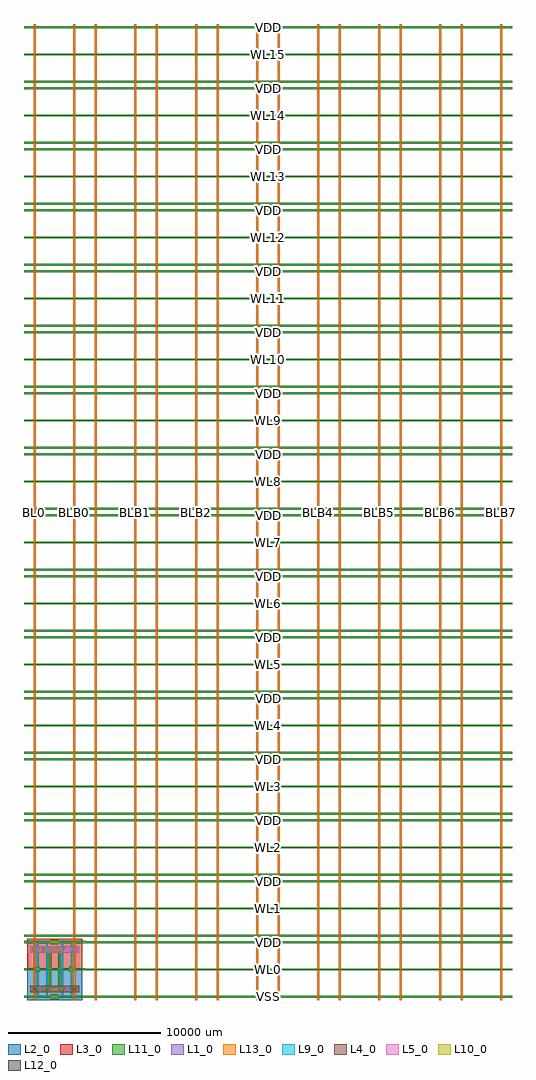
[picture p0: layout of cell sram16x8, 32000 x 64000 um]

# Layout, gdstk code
import gdstk
lib = gdstk.Library(unit=1e-6, precision=5e-10)
def R(c, l, rs):  # rectangles x0, y0, x1, y1
    for r in rs: c.add(gdstk.rectangle(r[:2], r[2:], *l))
def A(c, l, x, y, w, h, nx, ny, dx, dy):  # array of equal rectangles
    R(c, l, [(x+i*dx, y+j*dy, x+i*dx+w, y+j*dy+h) for i in range(nx) for j in range(ny)])
L1_0 = (1, 0)
L2_0 = (2, 0)
L3_0 = (3, 0)
L4_0 = (4, 0)
L5_0 = (5, 0)
L9_0 = (9, 0)
L10_0 = (10, 0)
L11_0 = (11, 0)
L12_0 = (12, 0)
L13_0 = (13, 0)

sram6t = lib.new_cell('sram6t')
R(sram6t, L1_0, [(400,500,2000,900), (2000,500,3600,900), (400,3100,2000,3500), (2000,3100,3600,3500)])
R(sram6t, L2_0, [(200,0,3800,2000)])
R(sram6t, L3_0, [(200,2000,3800,4000)])
R(sram6t, L4_0, [(400,500,2000,900), (2000,500,3600,900)])
R(sram6t, L5_0, [(400,3100,2000,3500), (2000,3100,3600,3500)])
R(sram6t, L9_0, [(850,200,950,3800), (1450,200,1550,3800), (2450,200,2550,3800), (3050,200,3150,3800)])
A(sram6t, L10_0, 635, 635, 130, 130, 3, 2, 600, 2600)
R(sram6t, L10_0, [(1835,135,1965,265), (2035,135,2165,265), (2035,635,2165,765), (2435,635,2565,765), (3235,635,3365,765), (835,1935,965,2065), (3035,1935,3165,2065), (2035,3235,2165,3365), (2435,3235,2565,3365), (3235,3235,3365,3365), (1835,3735,1965,3865), (2035,3735,2165,3865)])
A(sram6t, L11_0, 0, 135, 4000, 130, 1, 3, 0, 1800)
A(sram6t, L11_0, 565, 565, 270, 270, 3, 2, 600, 2600)
R(sram6t, L11_0, [(1765,65,2035,335), (1965,65,2235,335), (560,560,840,840), (3160,560,3440,840), (1965,565,2235,835), (2365,565,2635,835), (3165,565,3435,835), (1235,635,1365,765), (2300,635,2500,765), (2435,635,2565,765), (1635,700,1765,3300), (2235,700,2365,3300), (765,1865,1035,2135), (2965,1865,3235,2135), (1965,3165,2235,3435), (2365,3165,2635,3435), (3165,3165,3435,3435), (1235,3235,1365,3365), (1500,3235,1700,3365), (2435,3235,2565,3365), (1765,3665,2035,3935), (1965,3665,2235,3935)])
R(sram6t, L12_0, [(630,630,770,770), (3230,630,3370,770)])
R(sram6t, L13_0, [(630,0,770,4000), (3230,0,3370,4000), (560,560,840,840), (3160,560,3440,840)])
sram6t.add(gdstk.Label('WL', (2000,2000), layer=11, texttype=1))
sram6t.add(gdstk.Label('VDD', (2000,3800), layer=11, texttype=1))
sram6t.add(gdstk.Label('VSS', (2000,200), layer=11, texttype=1))
sram6t.add(gdstk.Label('BL', (700,2000), layer=13, texttype=1))
sram6t.add(gdstk.Label('BLB', (3300,2000), layer=13, texttype=1))

sram16x8 = lib.new_cell('sram16x8')
A(sram16x8, L11_0, 0, 135, 32000, 130, 1, 3, 0, 1800)
A(sram16x8, L11_0, 0, 4135, 32000, 130, 1, 3, 0, 1800)
A(sram16x8, L11_0, 0, 8135, 32000, 130, 1, 3, 0, 1800)
A(sram16x8, L11_0, 0, 12135, 32000, 130, 1, 3, 0, 1800)
A(sram16x8, L11_0, 0, 16135, 32000, 130, 1, 3, 0, 1800)
A(sram16x8, L11_0, 0, 20135, 32000, 130, 1, 3, 0, 1800)
A(sram16x8, L11_0, 0, 24135, 32000, 130, 1, 3, 0, 1800)
A(sram16x8, L11_0, 0, 28135, 32000, 130, 1, 3, 0, 1800)
A(sram16x8, L11_0, 0, 32135, 32000, 130, 1, 3, 0, 1800)
A(sram16x8, L11_0, 0, 36135, 32000, 130, 1, 3, 0, 1800)
A(sram16x8, L11_0, 0, 40135, 32000, 130, 1, 3, 0, 1800)
A(sram16x8, L11_0, 0, 44135, 32000, 130, 1, 3, 0, 1800)
A(sram16x8, L11_0, 0, 48135, 32000, 130, 1, 3, 0, 1800)
A(sram16x8, L11_0, 0, 52135, 32000, 130, 1, 3, 0, 1800)
A(sram16x8, L11_0, 0, 56135, 32000, 130, 1, 3, 0, 1800)
A(sram16x8, L11_0, 0, 60135, 32000, 130, 1, 3, 0, 1800)
R(sram16x8, L13_0, [(630,0,770,64000), (3230,0,3370,64000), (4630,0,4770,64000), (7230,0,7370,64000), (8630,0,8770,64000), (11230,0,11370,64000), (12630,0,12770,64000), (15230,0,15370,64000), (16630,0,16770,64000), (19230,0,19370,64000), (20630,0,20770,64000), (23230,0,23370,64000), (24630,0,24770,64000), (27230,0,27370,64000), (28630,0,28770,64000), (31230,0,31370,64000)])
sram16x8.add(gdstk.Reference(sram6t, (0,0)))
sram16x8.add(gdstk.Reference(sram6t, (2,0)))
sram16x8.add(gdstk.Reference(sram6t, (4,0)))
sram16x8.add(gdstk.Reference(sram6t, (6,0)))
sram16x8.add(gdstk.Reference(sram6t, (8,0)))
sram16x8.add(gdstk.Reference(sram6t, (10,0)))
sram16x8.add(gdstk.Reference(sram6t, (12,0)))
sram16x8.add(gdstk.Reference(sram6t, (14,0)))
sram16x8.add(gdstk.Reference(sram6t, (0,2)))
sram16x8.add(gdstk.Reference(sram6t, (2,2)))
sram16x8.add(gdstk.Reference(sram6t, (4,2)))
sram16x8.add(gdstk.Reference(sram6t, (6,2)))
sram16x8.add(gdstk.Reference(sram6t, (8,2)))
sram16x8.add(gdstk.Reference(sram6t, (10,2)))
sram16x8.add(gdstk.Reference(sram6t, (12,2)))
sram16x8.add(gdstk.Reference(sram6t, (14,2)))
sram16x8.add(gdstk.Reference(sram6t, (0,4)))
sram16x8.add(gdstk.Reference(sram6t, (2,4)))
sram16x8.add(gdstk.Reference(sram6t, (4,4)))
sram16x8.add(gdstk.Reference(sram6t, (6,4)))
sram16x8.add(gdstk.Reference(sram6t, (8,4)))
sram16x8.add(gdstk.Reference(sram6t, (10,4)))
sram16x8.add(gdstk.Reference(sram6t, (12,4)))
sram16x8.add(gdstk.Reference(sram6t, (14,4)))
sram16x8.add(gdstk.Reference(sram6t, (0,6)))
sram16x8.add(gdstk.Reference(sram6t, (2,6)))
sram16x8.add(gdstk.Reference(sram6t, (4,6)))
sram16x8.add(gdstk.Reference(sram6t, (6,6)))
sram16x8.add(gdstk.Reference(sram6t, (8,6)))
sram16x8.add(gdstk.Reference(sram6t, (10,6)))
sram16x8.add(gdstk.Reference(sram6t, (12,6)))
sram16x8.add(gdstk.Reference(sram6t, (14,6)))
sram16x8.add(gdstk.Reference(sram6t, (0,8)))
sram16x8.add(gdstk.Reference(sram6t, (2,8)))
sram16x8.add(gdstk.Reference(sram6t, (4,8)))
sram16x8.add(gdstk.Reference(sram6t, (6,8)))
sram16x8.add(gdstk.Reference(sram6t, (8,8)))
sram16x8.add(gdstk.Reference(sram6t, (10,8)))
sram16x8.add(gdstk.Reference(sram6t, (12,8)))
sram16x8.add(gdstk.Reference(sram6t, (14,8)))
sram16x8.add(gdstk.Reference(sram6t, (0,10)))
sram16x8.add(gdstk.Reference(sram6t, (2,10)))
sram16x8.add(gdstk.Reference(sram6t, (4,10)))
sram16x8.add(gdstk.Reference(sram6t, (6,10)))
sram16x8.add(gdstk.Reference(sram6t, (8,10)))
sram16x8.add(gdstk.Reference(sram6t, (10,10)))
sram16x8.add(gdstk.Reference(sram6t, (12,10)))
sram16x8.add(gdstk.Reference(sram6t, (14,10)))
sram16x8.add(gdstk.Reference(sram6t, (0,12)))
sram16x8.add(gdstk.Reference(sram6t, (2,12)))
sram16x8.add(gdstk.Reference(sram6t, (4,12)))
sram16x8.add(gdstk.Reference(sram6t, (6,12)))
sram16x8.add(gdstk.Reference(sram6t, (8,12)))
sram16x8.add(gdstk.Reference(sram6t, (10,12)))
sram16x8.add(gdstk.Reference(sram6t, (12,12)))
sram16x8.add(gdstk.Reference(sram6t, (14,12)))
sram16x8.add(gdstk.Reference(sram6t, (0,14)))
sram16x8.add(gdstk.Reference(sram6t, (2,14)))
sram16x8.add(gdstk.Reference(sram6t, (4,14)))
sram16x8.add(gdstk.Reference(sram6t, (6,14)))
sram16x8.add(gdstk.Reference(sram6t, (8,14)))
sram16x8.add(gdstk.Reference(sram6t, (10,14)))
sram16x8.add(gdstk.Reference(sram6t, (12,14)))
sram16x8.add(gdstk.Reference(sram6t, (14,14)))
sram16x8.add(gdstk.Reference(sram6t, (0,16)))
sram16x8.add(gdstk.Reference(sram6t, (2,16)))
sram16x8.add(gdstk.Reference(sram6t, (4,16)))
sram16x8.add(gdstk.Reference(sram6t, (6,16)))
sram16x8.add(gdstk.Reference(sram6t, (8,16)))
sram16x8.add(gdstk.Reference(sram6t, (10,16)))
sram16x8.add(gdstk.Reference(sram6t, (12,16)))
sram16x8.add(gdstk.Reference(sram6t, (14,16)))
sram16x8.add(gdstk.Reference(sram6t, (0,18)))
sram16x8.add(gdstk.Reference(sram6t, (2,18)))
sram16x8.add(gdstk.Reference(sram6t, (4,18)))
sram16x8.add(gdstk.Reference(sram6t, (6,18)))
sram16x8.add(gdstk.Reference(sram6t, (8,18)))
sram16x8.add(gdstk.Reference(sram6t, (10,18)))
sram16x8.add(gdstk.Reference(sram6t, (12,18)))
sram16x8.add(gdstk.Reference(sram6t, (14,18)))
sram16x8.add(gdstk.Reference(sram6t, (0,20)))
sram16x8.add(gdstk.Reference(sram6t, (2,20)))
sram16x8.add(gdstk.Reference(sram6t, (4,20)))
sram16x8.add(gdstk.Reference(sram6t, (6,20)))
sram16x8.add(gdstk.Reference(sram6t, (8,20)))
sram16x8.add(gdstk.Reference(sram6t, (10,20)))
sram16x8.add(gdstk.Reference(sram6t, (12,20)))
sram16x8.add(gdstk.Reference(sram6t, (14,20)))
sram16x8.add(gdstk.Reference(sram6t, (0,22)))
sram16x8.add(gdstk.Reference(sram6t, (2,22)))
sram16x8.add(gdstk.Reference(sram6t, (4,22)))
sram16x8.add(gdstk.Reference(sram6t, (6,22)))
sram16x8.add(gdstk.Reference(sram6t, (8,22)))
sram16x8.add(gdstk.Reference(sram6t, (10,22)))
sram16x8.add(gdstk.Reference(sram6t, (12,22)))
sram16x8.add(gdstk.Reference(sram6t, (14,22)))
sram16x8.add(gdstk.Reference(sram6t, (0,24)))
sram16x8.add(gdstk.Reference(sram6t, (2,24)))
sram16x8.add(gdstk.Reference(sram6t, (4,24)))
sram16x8.add(gdstk.Reference(sram6t, (6,24)))
sram16x8.add(gdstk.Reference(sram6t, (8,24)))
sram16x8.add(gdstk.Reference(sram6t, (10,24)))
sram16x8.add(gdstk.Reference(sram6t, (12,24)))
sram16x8.add(gdstk.Reference(sram6t, (14,24)))
sram16x8.add(gdstk.Reference(sram6t, (0,26)))
sram16x8.add(gdstk.Reference(sram6t, (2,26)))
sram16x8.add(gdstk.Reference(sram6t, (4,26)))
sram16x8.add(gdstk.Reference(sram6t, (6,26)))
sram16x8.add(gdstk.Reference(sram6t, (8,26)))
sram16x8.add(gdstk.Reference(sram6t, (10,26)))
sram16x8.add(gdstk.Reference(sram6t, (12,26)))
sram16x8.add(gdstk.Reference(sram6t, (14,26)))
sram16x8.add(gdstk.Reference(sram6t, (0,28)))
sram16x8.add(gdstk.Reference(sram6t, (2,28)))
sram16x8.add(gdstk.Reference(sram6t, (4,28)))
sram16x8.add(gdstk.Reference(sram6t, (6,28)))
sram16x8.add(gdstk.Reference(sram6t, (8,28)))
sram16x8.add(gdstk.Reference(sram6t, (10,28)))
sram16x8.add(gdstk.Reference(sram6t, (12,28)))
sram16x8.add(gdstk.Reference(sram6t, (14,28)))
sram16x8.add(gdstk.Reference(sram6t, (0,30)))
sram16x8.add(gdstk.Reference(sram6t, (2,30)))
sram16x8.add(gdstk.Reference(sram6t, (4,30)))
sram16x8.add(gdstk.Reference(sram6t, (6,30)))
sram16x8.add(gdstk.Reference(sram6t, (8,30)))
sram16x8.add(gdstk.Reference(sram6t, (10,30)))
sram16x8.add(gdstk.Reference(sram6t, (12,30)))
sram16x8.add(gdstk.Reference(sram6t, (14,30)))
sram16x8.add(gdstk.Label('WL0', (16000,2000), layer=11, texttype=1))
sram16x8.add(gdstk.Label('VDD', (16000,3800), layer=11, texttype=1))
sram16x8.add(gdstk.Label('VSS', (16000,200), layer=11, texttype=1))
sram16x8.add(gdstk.Label('WL1', (16000,6000), layer=11, texttype=1))
sram16x8.add(gdstk.Label('VDD', (16000,7800), layer=11, texttype=1))
sram16x8.add(gdstk.Label('VSS', (16000,4200), layer=11, texttype=1))
sram16x8.add(gdstk.Label('WL2', (16000,10000), layer=11, texttype=1))
sram16x8.add(gdstk.Label('VDD', (16000,11800), layer=11, texttype=1))
sram16x8.add(gdstk.Label('VSS', (16000,8200), layer=11, texttype=1))
sram16x8.add(gdstk.Label('WL3', (16000,14000), layer=11, texttype=1))
sram16x8.add(gdstk.Label('VDD', (16000,15800), layer=11, texttype=1))
sram16x8.add(gdstk.Label('VSS', (16000,12200), layer=11, texttype=1))
sram16x8.add(gdstk.Label('WL4', (16000,18000), layer=11, texttype=1))
sram16x8.add(gdstk.Label('VDD', (16000,19800), layer=11, texttype=1))
sram16x8.add(gdstk.Label('VSS', (16000,16200), layer=11, texttype=1))
sram16x8.add(gdstk.Label('WL5', (16000,22000), layer=11, texttype=1))
sram16x8.add(gdstk.Label('VDD', (16000,23800), layer=11, texttype=1))
sram16x8.add(gdstk.Label('VSS', (16000,20200), layer=11, texttype=1))
sram16x8.add(gdstk.Label('WL6', (16000,26000), layer=11, texttype=1))
sram16x8.add(gdstk.Label('VDD', (16000,27800), layer=11, texttype=1))
sram16x8.add(gdstk.Label('VSS', (16000,24200), layer=11, texttype=1))
sram16x8.add(gdstk.Label('WL7', (16000,30000), layer=11, texttype=1))
sram16x8.add(gdstk.Label('VDD', (16000,31800), layer=11, texttype=1))
sram16x8.add(gdstk.Label('VSS', (16000,28200), layer=11, texttype=1))
sram16x8.add(gdstk.Label('WL8', (16000,34000), layer=11, texttype=1))
sram16x8.add(gdstk.Label('VDD', (16000,35800), layer=11, texttype=1))
sram16x8.add(gdstk.Label('VSS', (16000,32200), layer=11, texttype=1))
sram16x8.add(gdstk.Label('WL9', (16000,38000), layer=11, texttype=1))
sram16x8.add(gdstk.Label('VDD', (16000,39800), layer=11, texttype=1))
sram16x8.add(gdstk.Label('VSS', (16000,36200), layer=11, texttype=1))
sram16x8.add(gdstk.Label('WL10', (16000,42000), layer=11, texttype=1))
sram16x8.add(gdstk.Label('VDD', (16000,43800), layer=11, texttype=1))
sram16x8.add(gdstk.Label('VSS', (16000,40200), layer=11, texttype=1))
sram16x8.add(gdstk.Label('WL11', (16000,46000), layer=11, texttype=1))
sram16x8.add(gdstk.Label('VDD', (16000,47800), layer=11, texttype=1))
sram16x8.add(gdstk.Label('VSS', (16000,44200), layer=11, texttype=1))
sram16x8.add(gdstk.Label('WL12', (16000,50000), layer=11, texttype=1))
sram16x8.add(gdstk.Label('VDD', (16000,51800), layer=11, texttype=1))
sram16x8.add(gdstk.Label('VSS', (16000,48200), layer=11, texttype=1))
sram16x8.add(gdstk.Label('WL13', (16000,54000), layer=11, texttype=1))
sram16x8.add(gdstk.Label('VDD', (16000,55800), layer=11, texttype=1))
sram16x8.add(gdstk.Label('VSS', (16000,52200), layer=11, texttype=1))
sram16x8.add(gdstk.Label('WL14', (16000,58000), layer=11, texttype=1))
sram16x8.add(gdstk.Label('VDD', (16000,59800), layer=11, texttype=1))
sram16x8.add(gdstk.Label('VSS', (16000,56200), layer=11, texttype=1))
sram16x8.add(gdstk.Label('WL15', (16000,62000), layer=11, texttype=1))
sram16x8.add(gdstk.Label('VDD', (16000,63800), layer=11, texttype=1))
sram16x8.add(gdstk.Label('VSS', (16000,60200), layer=11, texttype=1))
sram16x8.add(gdstk.Label('BL0', (700,32000), layer=13, texttype=1))
sram16x8.add(gdstk.Label('BLB0', (3300,32000), layer=13, texttype=1))
sram16x8.add(gdstk.Label('BL1', (4700,32000), layer=13, texttype=1))
sram16x8.add(gdstk.Label('BLB1', (7300,32000), layer=13, texttype=1))
sram16x8.add(gdstk.Label('BL2', (8700,32000), layer=13, texttype=1))
sram16x8.add(gdstk.Label('BLB2', (11300,32000), layer=13, texttype=1))
sram16x8.add(gdstk.Label('BL3', (12700,32000), layer=13, texttype=1))
sram16x8.add(gdstk.Label('BLB3', (15300,32000), layer=13, texttype=1))
sram16x8.add(gdstk.Label('BL4', (16700,32000), layer=13, texttype=1))
sram16x8.add(gdstk.Label('BLB4', (19300,32000), layer=13, texttype=1))
sram16x8.add(gdstk.Label('BL5', (20700,32000), layer=13, texttype=1))
sram16x8.add(gdstk.Label('BLB5', (23300,32000), layer=13, texttype=1))
sram16x8.add(gdstk.Label('BL6', (24700,32000), layer=13, texttype=1))
sram16x8.add(gdstk.Label('BLB6', (27300,32000), layer=13, texttype=1))
sram16x8.add(gdstk.Label('BL7', (28700,32000), layer=13, texttype=1))
sram16x8.add(gdstk.Label('BLB7', (31300,32000), layer=13, texttype=1))

lib.write_gds('sram16x8.gds')
